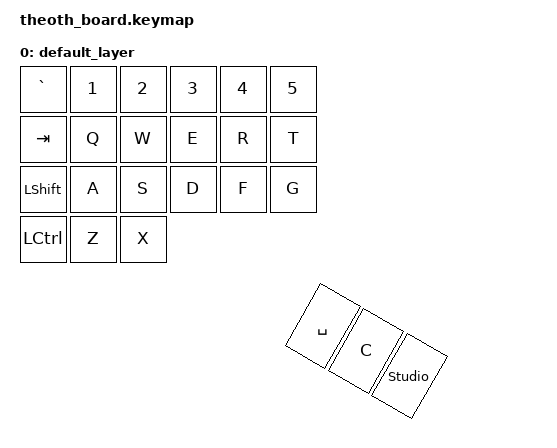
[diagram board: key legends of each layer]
#include <behaviors.dtsi>
#include <dt-bindings/zmk/keys.h>
#include <dt-bindings/zmk/bt.h>

/ {
    keymap {
        compatible = "zmk,keymap";

        default_layer { // Layer 0
            // -------------------------------------
            // |   `       |     1     |     2     |     3     |     4     |     5     |
            // |   Tab     |     Q     |     W     |     E     |     R     |     T     |
            // |   Shift   |     A     |     S     |     D     |     F     |     G     |
            // |   Ctrl    |     Z     |  Studio   |     X     |   Space   |     C     |
            bindings = <
                &kp GRAVE      &kp N1 &kp N2 &kp N3 &kp N4 &kp N5 
                &kp TAB        &kp Q  &kp W  &kp E  &kp R  &kp T 
                &kp LSHIFT     &kp A  &kp S  &kp D  &kp F  &kp G 
                &kp LCTRL      &kp Z  &kp X                &kp SPACE &kp C &studio_unlock 
            >;
        };

        extra1 {
            status = "reserved";
        };

        extra2 {
            status = "reserved";
        };

        extra3 {
            status = "reserved";
        };

        extra4 {
            status = "reserved";
        };
    };
};
